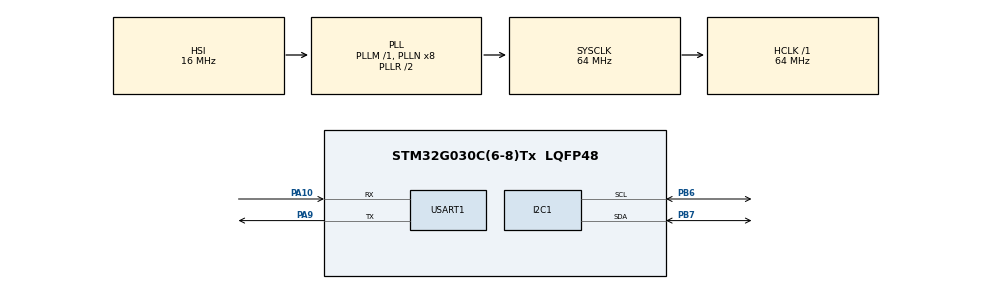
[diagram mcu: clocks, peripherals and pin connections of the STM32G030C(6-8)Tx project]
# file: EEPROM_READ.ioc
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I2C1.Timing=0x10B17DB5
Mcu.Family=STM32G0
Mcu.Name=STM32G030C(6-8)Tx
Mcu.Package=LQFP48
NVIC.I2C1_IRQn=true\:0\:0\:false\:false\:true\:true\:true\:true
PA10.Mode=Asynchronous
PA10.Signal=USART1_RX
PA13.Mode=Serial_Wire
PA13.Signal=SYS_SWDIO
PA14-BOOT0.Mode=Serial_Wire
PA14-BOOT0.Signal=SYS_SWCLK
PA9.Mode=Asynchronous
PA9.Signal=USART1_TX
PB6.Mode=I2C
PB6.Signal=I2C1_SCL
PB7.Mode=I2C
PB7.Signal=I2C1_SDA
PF0-OSC_IN\ (PF0).Mode=HSE-External-Oscillator
PF0-OSC_IN\ (PF0).Signal=RCC_OSC_IN
PF1-OSC_OUT\ (PF1).Mode=HSE-External-Oscillator
PF1-OSC_OUT\ (PF1).Signal=RCC_OSC_OUT
ProjectManager.HeapSize=0x200
ProjectManager.StackSize=0x400
ProjectManager.TargetToolchain=STM32CubeIDE
RCC.ADCFreq_Value=64000000
RCC.AHBFreq_Value=64000000
RCC.CortexFreq_Value=64000000
RCC.EXTERNAL_CLOCK_VALUE=12288000
RCC.HCLKFreq_Value=64000000
RCC.HSE_VALUE=8000000
RCC.HSI_VALUE=16000000
RCC.LSE_VALUE=32768
RCC.SYSCLKFreq_VALUE=64000000
RCC.SYSCLKSource=RCC_SYSCLKSOURCE_PLLCLK
RCC.VCOOutputFreq_Value=128000000
USART1.FIFOMode=FIFOMODE_DISABLE
USART1.SwapParam=ADVFEATURE_SWAP_DISABLE
USART1.VirtualMode-Asynchronous=VM_ASYNC
board=custom

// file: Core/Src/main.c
/* USER CODE BEGIN Header */
/**
  ******************************************************************************
  * @file           : main.c
  * @brief          : Main program body
  ******************************************************************************
  * @attention
  *
  * Copyright (c) 2025 STMicroelectronics.
  * All rights reserved.
  *
  * This software is licensed under terms that can be found in the LICENSE file
  * in the root directory of this software component.
  * If no LICENSE file comes with this software, it is provided AS-IS.
  *
  ******************************************************************************
  */
/* USER CODE END Header */
#include "main.h"

/* USER CODE BEGIN Includes */
#include "string.h"
#include "stdio.h"
/* USER CODE END Includes */

/* USER CODE BEGIN PD */
#define I2C_ADDRESS 0x50  // Replace with your I2C device address
#define MESSAGE "This is testing "

/* USER CODE END PD */

/* USER CODE BEGIN PM */
char uart_buf[50];
int uart_buf_len;
/* USER CODE END PM */

uint8_t tx_data[] = MESSAGE;  // Data to be sent
//uint8_t tx_data[] = {0x00, 0x11, 0x22, 0x33, 0x44, 0x55, 0x66, 0x77, 0x88, 0x99};  // Data to be sent

uint8_t rx_data[sizeof(MESSAGE)] = {0};  // Adjust size to match MESSAGE length
 // Buffer to store received half of the message

I2C_HandleTypeDef hi2c1;

UART_HandleTypeDef huart1;

void SystemClock_Config(void);
static void MX_GPIO_Init(void);
static void MX_I2C1_Init(void);
static void MX_USART1_UART_Init(void);
/* USER CODE BEGIN PFP */
void Write_EEPROM(uint16_t memAddress, uint8_t* data, uint16_t size) {
    if (HAL_I2C_Mem_Write(&hi2c1, (I2C_ADDRESS << 1), memAddress, I2C_MEMADD_SIZE_8BIT, data, size, 1000) != HAL_OK) {
        sprintf(uart_buf, "I2C Transmission Error\r\n");
    } else {
        sprintf(uart_buf, "Message Written: %s\r\n", data);
    }
    HAL_UART_Transmit(&huart1, (uint8_t*)uart_buf, strlen(uart_buf), 1000);
}

void Read_EEPROM(uint16_t memAddress, uint8_t* data, uint16_t size) {
    if (HAL_I2C_Mem_Read(&hi2c1, (I2C_ADDRESS << 1), memAddress, I2C_MEMADD_SIZE_8BIT, data, size, 1000) != HAL_OK) {
        sprintf(uart_buf, "I2C Reception Error\r\n");
    } else {
        sprintf(uart_buf, "Message Reader : %s\r\n", data);
    }
    HAL_UART_Transmit(&huart1, (uint8_t*)uart_buf, strlen(uart_buf), 1000);
}

/* USER CODE END PFP */

int main(void)
{

  /* MCU Configuration--------------------------------------------------------*/

  /* Reset of all peripherals, Initializes the Flash interface and the Systick. */
  HAL_Init();

  /* Configure the system clock */
  SystemClock_Config();

  /* Initialize all configured peripherals */
  MX_GPIO_Init();
  MX_I2C1_Init();
  MX_USART1_UART_Init();

  /* USER CODE BEGIN 2 */

#define PAGE_SIZE 16

int message_len = strlen(MESSAGE);

Write_EEPROM(0x00, (uint8_t*)MESSAGE, message_len);
HAL_Delay(50);  // Yazma işleminin tamamlanması için yeterli bekleme

Read_EEPROM(0x00, rx_data, message_len);
rx_data[message_len] = '\0';  // String sonu ekle

HAL_UART_Transmit(&huart1, (uint8_t *)uart_buf, uart_buf_len, 100);

  /* USER CODE END 2 */

  /* Infinite loop */
  while (1)
  {

  }
}

void SystemClock_Config(void)
{
  RCC_OscInitTypeDef RCC_OscInitStruct = {0};
  RCC_ClkInitTypeDef RCC_ClkInitStruct = {0};

  /** Configure the main internal regulator output voltage
  */
  HAL_PWREx_ControlVoltageScaling(PWR_REGULATOR_VOLTAGE_SCALE1);

  /** Initializes the RCC Oscillators according to the specified parameters
  * in the RCC_OscInitTypeDef structure.
  */
  RCC_OscInitStruct.OscillatorType = RCC_OSCILLATORTYPE_HSI;
  RCC_OscInitStruct.HSIState = RCC_HSI_ON;
  RCC_OscInitStruct.HSIDiv = RCC_HSI_DIV1;
  RCC_OscInitStruct.HSICalibrationValue = RCC_HSICALIBRATION_DEFAULT;
  RCC_OscInitStruct.PLL.PLLState = RCC_PLL_ON;
  RCC_OscInitStruct.PLL.PLLSource = RCC_PLLSOURCE_HSI;
  RCC_OscInitStruct.PLL.PLLM = RCC_PLLM_DIV1;
  RCC_OscInitStruct.PLL.PLLN = 8;
  RCC_OscInitStruct.PLL.PLLP = RCC_PLLP_DIV2;
  RCC_OscInitStruct.PLL.PLLR = RCC_PLLR_DIV2;
  if (HAL_RCC_OscConfig(&RCC_OscInitStruct) != HAL_OK)
  {
    Error_Handler();
  }

  /** Initializes the CPU, AHB and APB buses clocks
  */
  RCC_ClkInitStruct.ClockType = RCC_CLOCKTYPE_HCLK|RCC_CLOCKTYPE_SYSCLK
                              |RCC_CLOCKTYPE_PCLK1;
  RCC_ClkInitStruct.SYSCLKSource = RCC_SYSCLKSOURCE_PLLCLK;
  RCC_ClkInitStruct.AHBCLKDivider = RCC_SYSCLK_DIV1;
  RCC_ClkInitStruct.APB1CLKDivider = RCC_HCLK_DIV1;

  if (HAL_RCC_ClockConfig(&RCC_ClkInitStruct, FLASH_LATENCY_2) != HAL_OK)
  {
    Error_Handler();
  }
}

static void MX_I2C1_Init(void)
{

  hi2c1.Instance = I2C1;
  hi2c1.Init.Timing = 0x10B17DB5;
  hi2c1.Init.OwnAddress1 = 0;
  hi2c1.Init.AddressingMode = I2C_ADDRESSINGMODE_7BIT;
  hi2c1.Init.DualAddressMode = I2C_DUALADDRESS_DISABLE;
  hi2c1.Init.OwnAddress2 = 0;
  hi2c1.Init.OwnAddress2Masks = I2C_OA2_NOMASK;
  hi2c1.Init.GeneralCallMode = I2C_GENERALCALL_DISABLE;
  hi2c1.Init.NoStretchMode = I2C_NOSTRETCH_DISABLE;
  if (HAL_I2C_Init(&hi2c1) != HAL_OK)
  {
    Error_Handler();
  }

  /** Configure Analogue filter
  */
  if (HAL_I2CEx_ConfigAnalogFilter(&hi2c1, I2C_ANALOGFILTER_ENABLE) != HAL_OK)
  {
    Error_Handler();
  }

  /** Configure Digital filter
  */
  if (HAL_I2CEx_ConfigDigitalFilter(&hi2c1, 0) != HAL_OK)
  {
    Error_Handler();
  }

}

static void MX_USART1_UART_Init(void)
{

  huart1.Instance = USART1;
  huart1.Init.BaudRate = 115200;
  huart1.Init.WordLength = UART_WORDLENGTH_8B;
  huart1.Init.StopBits = UART_STOPBITS_1;
  huart1.Init.Parity = UART_PARITY_NONE;
  huart1.Init.Mode = UART_MODE_TX_RX;
  huart1.Init.HwFlowCtl = UART_HWCONTROL_NONE;
  huart1.Init.OverSampling = UART_OVERSAMPLING_16;
  huart1.Init.OneBitSampling = UART_ONE_BIT_SAMPLE_DISABLE;
  huart1.Init.ClockPrescaler = UART_PRESCALER_DIV1;
  huart1.AdvancedInit.AdvFeatureInit = UART_ADVFEATURE_NO_INIT;
  if (HAL_UART_Init(&huart1) != HAL_OK)
  {
    Error_Handler();
  }
  if (HAL_UARTEx_SetTxFifoThreshold(&huart1, UART_TXFIFO_THRESHOLD_1_8) != HAL_OK)
  {
    Error_Handler();
  }
  if (HAL_UARTEx_SetRxFifoThreshold(&huart1, UART_RXFIFO_THRESHOLD_1_8) != HAL_OK)
  {
    Error_Handler();
  }
  if (HAL_UARTEx_DisableFifoMode(&huart1) != HAL_OK)
  {
    Error_Handler();
  }

}

static void MX_GPIO_Init(void)
{

  /* GPIO Ports Clock Enable */
  __HAL_RCC_GPIOF_CLK_ENABLE();
  __HAL_RCC_GPIOA_CLK_ENABLE();
  __HAL_RCC_GPIOB_CLK_ENABLE();

}

void Error_Handler(void)
{
  __disable_irq();
  while (1)
  {
  }
}
